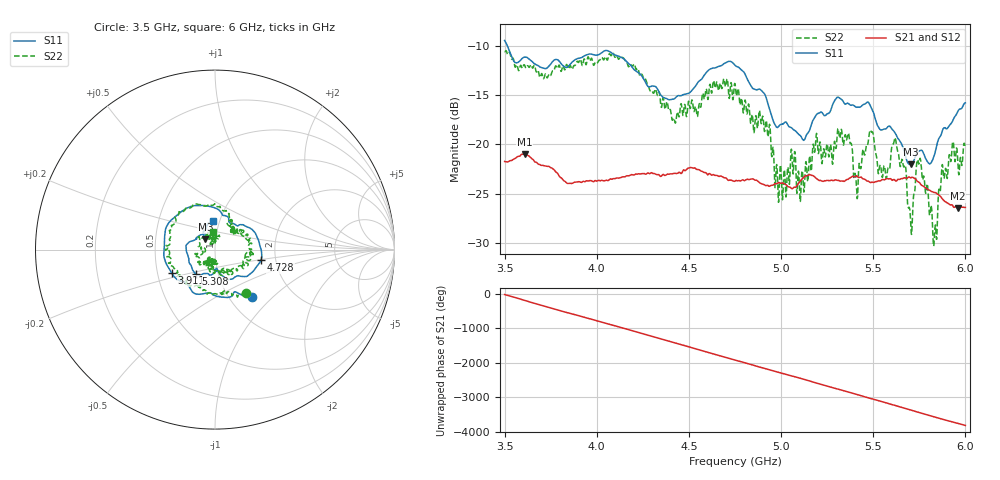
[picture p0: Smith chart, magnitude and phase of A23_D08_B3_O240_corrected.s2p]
! Created with skrf 1.9.0 (http://scikit-rf.org).
# Hz S RI R 50.0
!freq ReS11 ImS11 ReS21 ImS21 ReS12 ImS12 ReS22 ImS22
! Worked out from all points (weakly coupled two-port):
!   1601 points, 3.5 GHz to 6 GHz, reference 50 ohm
!   highest |S21| = -20.97 dB at 3.609 GHz (marker M1); lowest = -26.5 dB at 5.959 GHz (marker M2)
!   lowest |S11| = -22.0 dB at 5.703 GHz (marker M3), VSWR 1.17, Z = 44.6 + j5.21 ohm
!   |S11| at or under -10 dB: 3.515 GHz to end of sweep
!   |S22| runs from -30.3 to -10.5 dB; largest |S21 - S12| = 0.0011
!   S11 on the Smith chart (normalised r, x): 3.5 GHz: 1.27, -0.76; 3.911 GHz: 0.59, -0.17; 4.728 GHz: 1.67, -0.21; 5.308 GHz: 0.78, -0.22; 6 GHz: 0.93, +0.31
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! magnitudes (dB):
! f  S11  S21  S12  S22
! 3.5 GHz  -9.5  -21.7  -21.7  -10.6
! 3.609 GHz  -11.2  -21.0  -21.0  -12.0
! 3.911 GHz  -11.2  -23.8  -23.8  -11.4
! 3.917 GHz  -11.2  -23.9  -23.8  -11.8
! 4.334 GHz  -14.6  -23.1  -23.0  -14.8
! 4.728 GHz  -11.6  -23.6  -23.5  -13.7
! 4.75 GHz  -12.0  -23.7  -23.7  -13.9
! 4.93 GHz  -16.0  -24.2  -24.1  -19.2
! 4.978 GHz  -18.3  -24.0  -23.9  -22.3
! 5.167 GHz  -17.8  -23.1  -23.1  -21.9
! 5.308 GHz  -15.2  -23.6  -23.6  -18.4
! 5.373 GHz  -16.0  -23.4  -23.4  -19.8
! 5.406 GHz  -16.2  -23.2  -23.2  -23.5
! 5.489 GHz  -16.3  -23.9  -23.8  -18.7
! 5.584 GHz  -18.2  -23.5  -23.5  -22.4
! 5.625 GHz  -19.1  -23.7  -23.7  -20.0
! 5.703 GHz  -22.0  -23.4  -23.4  -28.0
! 5.748 GHz  -20.7  -23.8  -23.8  -21.9
! 5.834 GHz  -20.9  -24.9  -24.8  -28.5
! 5.88 GHz  -18.4  -25.6  -25.6  -22.8
! 5.959 GHz  -16.6  -26.5  -26.4  -21.8
! 6 GHz  -15.8  -26.4  -26.4  -20.2
